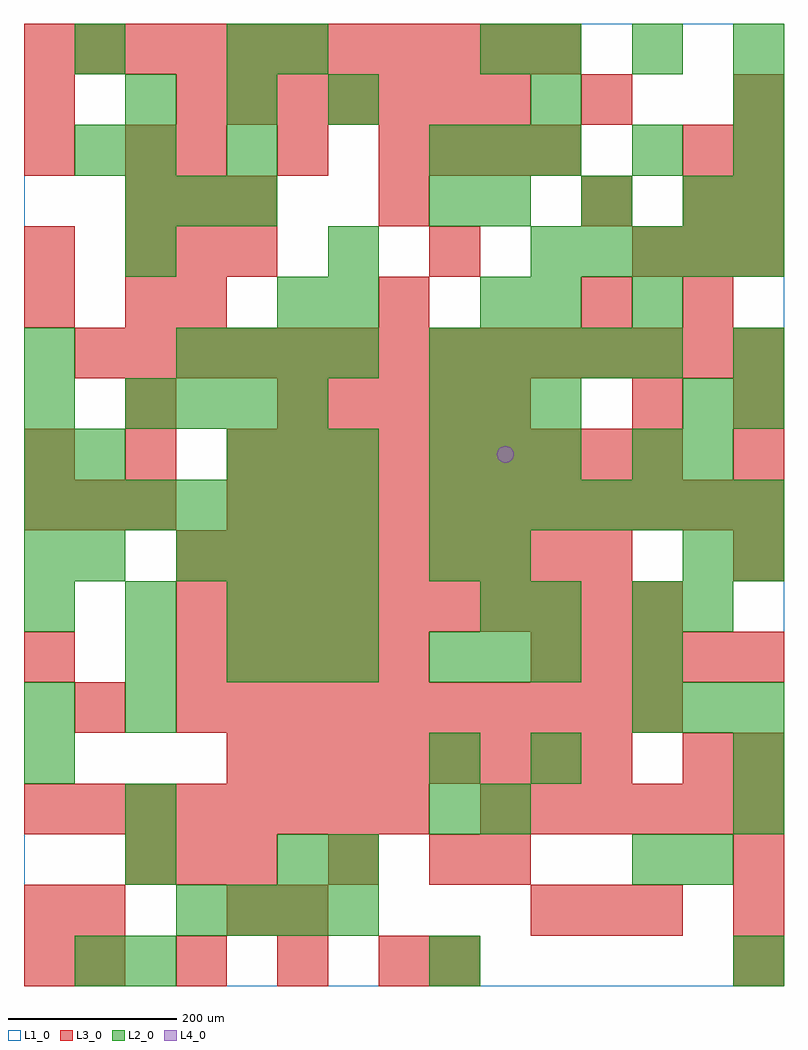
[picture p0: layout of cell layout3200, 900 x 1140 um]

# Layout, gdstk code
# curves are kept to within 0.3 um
import gdstk
lib = gdstk.Library(unit=1e-6, precision=1e-09)
def R(c, l, rs):  # rectangles x0, y0, x1, y1
    for r in rs: c.add(gdstk.rectangle(r[:2], r[2:], *l))
def A(c, l, x, y, w, h, nx, ny, dx, dy):  # array of equal rectangles
    R(c, l, [(x+i*dx, y+j*dy, x+i*dx+w, y+j*dy+h) for i in range(nx) for j in range(ny)])
def P(c, l, *ps):  # polygons
    for p in ps: c.add(gdstk.Polygon(p, *l))
L1_0 = (1, 0)
L2_0 = (2, 0)
L3_0 = (3, 0)
L4_0 = (4, 0)

layout3200 = lib.new_cell('layout3200')
R(layout3200, L1_0, [(0,0,900,1140)])
A(layout3200, L2_0, 120, 0, 60, 60, 3, 1, 360, 0)
A(layout3200, L2_0, 180, 60, 60, 60, 4, 2, 60, 420)
A(layout3200, L2_0, 720, 300, 60, 60, 3, 1, 60, 0)
A(layout3200, L2_0, 240, 360, 60, 60, 3, 2, 60, 240)
A(layout3200, L2_0, 480, 360, 60, 60, 3, 2, 60, 240)
A(layout3200, L2_0, 0, 420, 60, 60, 3, 1, 120, 0)
A(layout3200, L2_0, 720, 420, 60, 60, 1, 4, 0, 180)
A(layout3200, L2_0, 540, 480, 60, 60, 1, 3, 0, 300)
A(layout3200, L2_0, 0, 540, 60, 60, 7, 1, 60, 0)
A(layout3200, L2_0, 480, 540, 60, 60, 7, 1, 60, 0)
A(layout3200, L2_0, 0, 600, 60, 60, 1, 3, 0, 60)
A(layout3200, L2_0, 120, 660, 60, 60, 4, 1, 60, 0)
A(layout3200, L2_0, 480, 660, 60, 60, 3, 2, 60, 300)
A(layout3200, L2_0, 180, 720, 60, 60, 4, 1, 60, 0)
A(layout3200, L2_0, 480, 720, 60, 60, 5, 1, 60, 0)
A(layout3200, L2_0, 120, 840, 60, 60, 3, 1, 240, 0)
A(layout3200, L2_0, 660, 840, 60, 60, 4, 1, 60, 0)
A(layout3200, L2_0, 120, 900, 60, 60, 3, 1, 60, 0)
A(layout3200, L2_0, 540, 900, 60, 60, 3, 1, 120, 0)
A(layout3200, L2_0, 840, 900, 60, 60, 1, 3, 0, 60)
A(layout3200, L2_0, 120, 1020, 60, 60, 3, 1, 120, 0)
A(layout3200, L2_0, 600, 1080, 60, 60, 3, 1, 120, 0)
R(layout3200, L2_0, [(60,0,120,60), (120,120,180,180), (300,120,360,180), (360,120,420,180), (720,120,780,180), (780,120,840,180), (120,180,180,240), (480,180,540,240), (540,180,600,240), (840,180,900,240), (0,240,60,300), (480,240,540,300), (600,240,660,300), (840,240,900,300), (0,300,60,360), (120,300,180,360), (120,360,180,420), (720,360,780,420), (300,420,360,480), (360,420,420,480), (540,420,600,480), (600,420,660,480), (780,420,840,480), (0,480,60,540), (60,480,120,540), (480,480,540,540), (780,480,840,540), (840,480,900,540), (60,600,120,660), (780,600,840,660), (780,660,840,720), (840,660,900,720), (840,720,900,780), (300,780,360,840), (360,780,420,840), (600,780,660,840), (480,900,540,960), (60,960,120,1020), (120,960,180,1020), (240,960,300,1020), (600,1020,660,1080), (60,1080,120,1140), (240,1080,300,1140), (300,1080,360,1140)])
A(layout3200, L3_0, 60, 0, 60, 60, 4, 1, 120, 0)
A(layout3200, L3_0, 840, 0, 60, 60, 1, 3, 0, 60)
A(layout3200, L3_0, 600, 60, 60, 60, 3, 1, 60, 0)
A(layout3200, L3_0, 120, 120, 60, 60, 3, 2, 60, 720)
A(layout3200, L3_0, 0, 180, 60, 60, 8, 1, 60, 0)
A(layout3200, L3_0, 540, 180, 60, 60, 6, 1, 60, 0)
A(layout3200, L3_0, 240, 240, 60, 60, 8, 1, 60, 0)
A(layout3200, L3_0, 180, 300, 60, 60, 10, 2, 60, 120)
A(layout3200, L3_0, 180, 360, 60, 60, 5, 1, 60, 0)
A(layout3200, L3_0, 600, 360, 60, 60, 5, 1, 60, 0)
A(layout3200, L3_0, 180, 480, 60, 60, 9, 1, 60, 0)
A(layout3200, L3_0, 0, 540, 60, 60, 3, 1, 60, 0)
A(layout3200, L3_0, 240, 540, 60, 60, 11, 1, 60, 0)
A(layout3200, L3_0, 0, 600, 60, 60, 3, 1, 120, 0)
A(layout3200, L3_0, 300, 600, 60, 60, 8, 1, 60, 0)
A(layout3200, L3_0, 300, 660, 60, 60, 5, 1, 60, 0)
A(layout3200, L3_0, 60, 720, 60, 60, 14, 1, 60, 0)
A(layout3200, L3_0, 180, 780, 60, 60, 3, 1, 240, 0)
A(layout3200, L3_0, 720, 840, 60, 60, 3, 1, 60, 0)
A(layout3200, L3_0, 120, 900, 60, 60, 3, 1, 60, 0)
A(layout3200, L3_0, 840, 900, 60, 60, 1, 3, 0, 60)
A(layout3200, L3_0, 180, 960, 60, 60, 3, 1, 120, 0)
A(layout3200, L3_0, 480, 960, 60, 60, 3, 1, 60, 0)
A(layout3200, L3_0, 180, 1020, 60, 60, 7, 1, 60, 0)
A(layout3200, L3_0, 0, 1080, 60, 60, 11, 1, 60, 0)
R(layout3200, L3_0, [(0,0,60,60), (480,0,540,60), (0,60,60,120), (60,60,120,120), (240,60,300,120), (300,60,360,120), (360,120,420,180), (480,120,540,180), (540,120,600,180), (780,240,840,300), (840,240,900,300), (60,300,120,360), (0,360,60,420), (840,480,900,540), (840,600,900,660), (120,660,180,720), (720,660,780,720), (840,660,900,720), (0,780,60,840), (120,780,180,840), (780,780,840,840), (0,840,60,900), (480,840,540,900), (420,900,480,960), (660,900,720,960), (780,900,840,960), (0,960,60,1020), (120,960,180,1020), (780,960,840,1020), (0,1020,60,1080), (660,1020,720,1080)])
P(layout3200, L4_0, [(580,630),(579.239,633.827),(577.071,637.071),(573.827,639.239),(570,640),(566.173,639.239),(562.929,637.071),(560.761,633.827),(560,630),(560.761,626.173),(562.929,622.929),(566.173,620.761),(570,620),(573.827,620.761),(577.071,622.929),(579.239,626.173)])

lib.write_gds('layout3200.gds')
